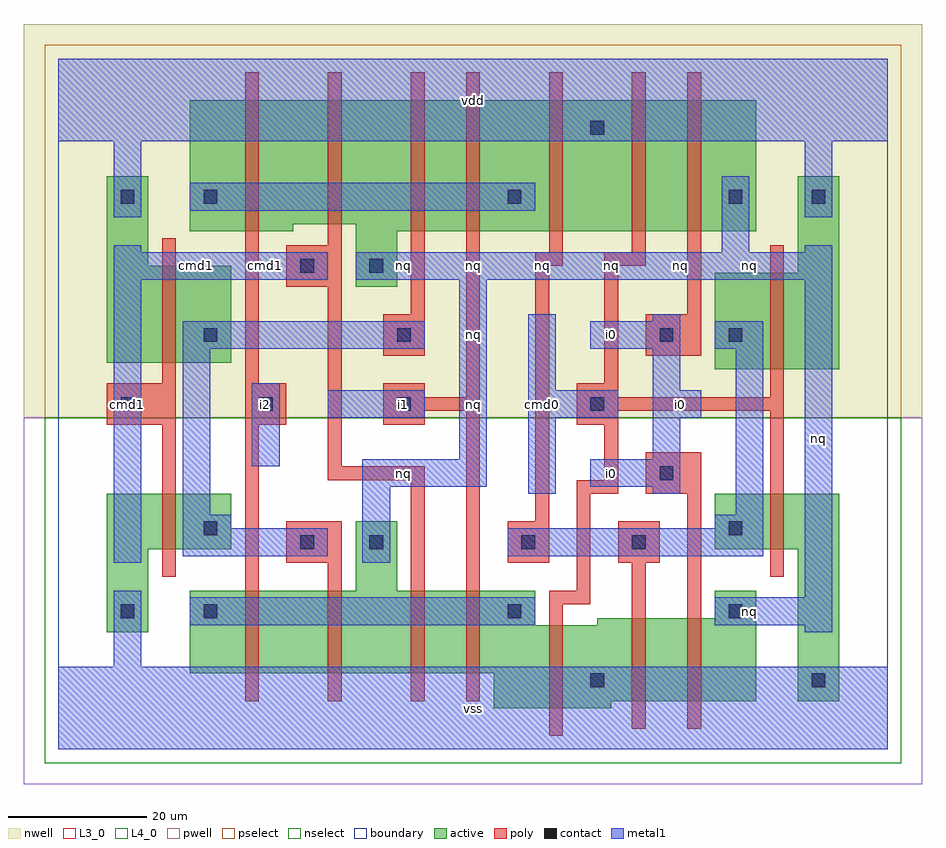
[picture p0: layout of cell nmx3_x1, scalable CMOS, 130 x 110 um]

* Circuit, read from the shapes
.subckt nmx3_x1 cmd0 cmd1 i0 i1 i2 nq vdd vss
M1 n1 cmd1 vss VSUBS nfet w=8u l=2u
M2 n2 i2 n3 VSUBS nfet w=12u l=2u
M3 nq n1 n2 VSUBS nfet w=12u l=2u
M4 n4 cmd1 nq VSUBS nfet w=12u l=2u
M5 n3 i1 n4 VSUBS nfet w=12u l=2u
M6 vss cmd0 n3 VSUBS nfet w=12u l=2u
M7 n5 n6 vss VSUBS nfet w=12u l=2u
M8 nq i0 n5 VSUBS nfet w=12u l=2u
M9 vss cmd0 n6 VSUBS nfet w=8u l=2u
M10 n1 cmd1 vdd n7 pfet w=14u l=2u
M11 n8 i2 n9 n7 pfet w=19u l=2u
M12 nq cmd1 n8 n7 pfet w=18u l=2u
M13 n10 n1 nq n7 pfet w=19u l=2u
M14 n9 i1 n10 n7 pfet w=19u l=2u
M15 vdd n6 n9 n7 pfet w=19u l=2u
M16 n11 cmd0 vdd n7 pfet w=19u l=2u
M17 nq i0 n11 n7 pfet w=19u l=2u
M18 vdd cmd0 n6 n7 pfet w=14u l=2u
.ends

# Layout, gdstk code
import gdstk
lib = gdstk.Library(unit=1e-6, precision=1e-09)
def R(c, l, rs):  # rectangles x0, y0, x1, y1
    for r in rs: c.add(gdstk.rectangle(r[:2], r[2:], *l))
def A(c, l, x, y, w, h, nx, ny, dx, dy):  # array of equal rectangles
    R(c, l, [(x+i*dx, y+j*dy, x+i*dx+w, y+j*dy+h) for i in range(nx) for j in range(ny)])
L3_0 = (3, 0)
L4_0 = (4, 0)
contact = (25, 0)
pwell = (41, 0)
nwell = (42, 0)
active = (43, 0)
pselect = (44, 0)
nselect = (45, 0)
poly = (46, 0)
metal1 = (49, 0)
boundary = (63, 0)

nmx3_x1 = lib.new_cell('nmx3_x1')
R(nmx3_x1, L3_0, [(63,6,80,7), (63,7,101,11), (107,7,113,29), (19,11,101,18), (7,17,13,29), (19,18,69,23), (78,18,101,19), (95,19,101,23), (43,23,49,33), (7,29,25,37), (95,29,113,37)])
R(nmx3_x1, L4_0, [(95,55,113,69), (7,56,25,70), (43,67,49,75), (107,69,113,83), (7,70,13,83), (19,75,34,76), (43,75,101,76), (19,76,101,94)])
A(nmx3_x1, contact, 77, 9, 2, 2, 1, 3, 0, 40)
A(nmx3_x1, contact, 9, 49, 2, 2, 3, 1, 20, 0)
R(nmx3_x1, contact, [(109,9,111,11), (9,19,11,21), (21,19,23,21), (65,19,67,21), (97,19,99,21), (35,29,37,31), (45,29,47,31), (67,29,69,31), (83,29,85,31), (21,31,23,33), (97,31,99,33), (87,39,89,41), (21,59,23,61), (49,59,51,61), (87,59,89,61), (97,59,99,61), (35,69,37,71), (45,69,47,71), (9,79,11,81), (21,79,23,81), (65,79,67,81), (97,79,99,81), (109,79,111,81)])
R(nmx3_x1, pwell, [(-5,-5,125,48)])
R(nmx3_x1, nwell, [(-5,48,125,105)])
R(nmx3_x1, active, [(63,6,80,7), (63,7,101,11), (107,7,113,29), (19,11,101,18), (7,17,13,29), (19,18,69,23), (78,18,101,19), (95,19,101,23), (43,23,49,33), (7,29,25,37), (95,29,113,37), (95,55,113,69), (7,56,25,70), (43,67,49,75), (107,69,113,83), (7,70,13,83), (19,75,34,76), (43,75,101,76), (19,76,101,94)])
R(nmx3_x1, pselect, [(-2,48,122,102)])
R(nmx3_x1, nselect, [(-2,-2,122,48)])
R(nmx3_x1, poly, [(71,2,73,21), (83,3,85,27), (91,3,93,37), (27,7,29,47), (39,7,41,27), (51,7,53,39), (59,7,61,49), (71,21,77,23), (75,23,77,37), (15,25,17,47), (103,25,105,49), (33,27,41,33), (65,27,71,33), (81,27,87,33), (69,33,71,70), (75,37,81,39), (85,37,93,43), (39,39,53,41), (79,39,81,47), (39,41,41,67), (7,47,17,53), (27,47,33,53), (47,47,53,49), (75,47,81,49), (47,49,61,51), (75,49,105,51), (47,51,53,53), (59,51,61,98), (75,51,81,53), (103,51,105,73), (15,53,17,74), (27,53,29,98), (79,53,81,70), (47,57,53,63), (85,57,93,63), (51,63,53,98), (91,63,93,98), (33,67,41,73), (69,70,73,72), (79,70,85,72), (71,72,73,98), (83,72,85,98), (39,73,41,98)])
R(nmx3_x1, metal1, [(0,0,120,12), (8,12,12,23), (108,17,112,18), (19,18,69,22), (95,18,112,22), (108,22,112,68), (8,27,12,68), (44,27,48,38), (18,28,39,32), (65,28,102,32), (18,32,25,34), (95,32,102,34), (18,34,22,58), (98,34,102,58), (68,37,72,48), (86,37,90,38), (44,38,62,42), (77,38,90,42), (28,41,32,53), (58,42,62,68), (86,42,90,48), (39,48,53,52), (68,48,81,52), (86,48,93,52), (68,52,72,63), (86,52,90,58), (18,58,53,62), (77,58,90,62), (95,58,102,62), (86,62,90,63), (8,68,39,72), (43,68,112,72), (8,72,12,73), (96,72,100,83), (108,72,112,73), (8,77,12,88), (108,77,112,88), (19,78,69,82), (0,88,120,100)])
R(nmx3_x1, boundary, [(0,0,120,100)])
nmx3_x1.add(gdstk.Label('cmd1', (10,50), layer=49, texttype=0))
nmx3_x1.add(gdstk.Label('i2', (30,50), layer=49, texttype=0))
nmx3_x1.add(gdstk.Label('cmd1', (20,70), layer=49, texttype=0))
nmx3_x1.add(gdstk.Label('cmd1', (30,70), layer=49, texttype=0))
nmx3_x1.add(gdstk.Label('vss', (60,6), layer=49, texttype=0))
nmx3_x1.add(gdstk.Label('nq', (50,40), layer=49, texttype=0))
nmx3_x1.add(gdstk.Label('i1', (50,50), layer=49, texttype=0))
nmx3_x1.add(gdstk.Label('nq', (60,50), layer=49, texttype=0))
nmx3_x1.add(gdstk.Label('nq', (60,60), layer=49, texttype=0))
nmx3_x1.add(gdstk.Label('nq', (50,70), layer=49, texttype=0))
nmx3_x1.add(gdstk.Label('nq', (60,70), layer=49, texttype=0))
nmx3_x1.add(gdstk.Label('vdd', (60,94), layer=49, texttype=0))
nmx3_x1.add(gdstk.Label('i0', (80,40), layer=49, texttype=0))
nmx3_x1.add(gdstk.Label('cmd0', (70,50), layer=49, texttype=0))
nmx3_x1.add(gdstk.Label('i0', (90,50), layer=49, texttype=0))
nmx3_x1.add(gdstk.Label('i0', (80,60), layer=49, texttype=0))
nmx3_x1.add(gdstk.Label('nq', (70,70), layer=49, texttype=0))
nmx3_x1.add(gdstk.Label('nq', (80,70), layer=49, texttype=0))
nmx3_x1.add(gdstk.Label('nq', (90,70), layer=49, texttype=0))
nmx3_x1.add(gdstk.Label('nq', (100,20), layer=49, texttype=0))
nmx3_x1.add(gdstk.Label('nq', (110,45), layer=49, texttype=0))
nmx3_x1.add(gdstk.Label('nq', (100,70), layer=49, texttype=0))

lib.write_gds('nmx3_x1.gds')
